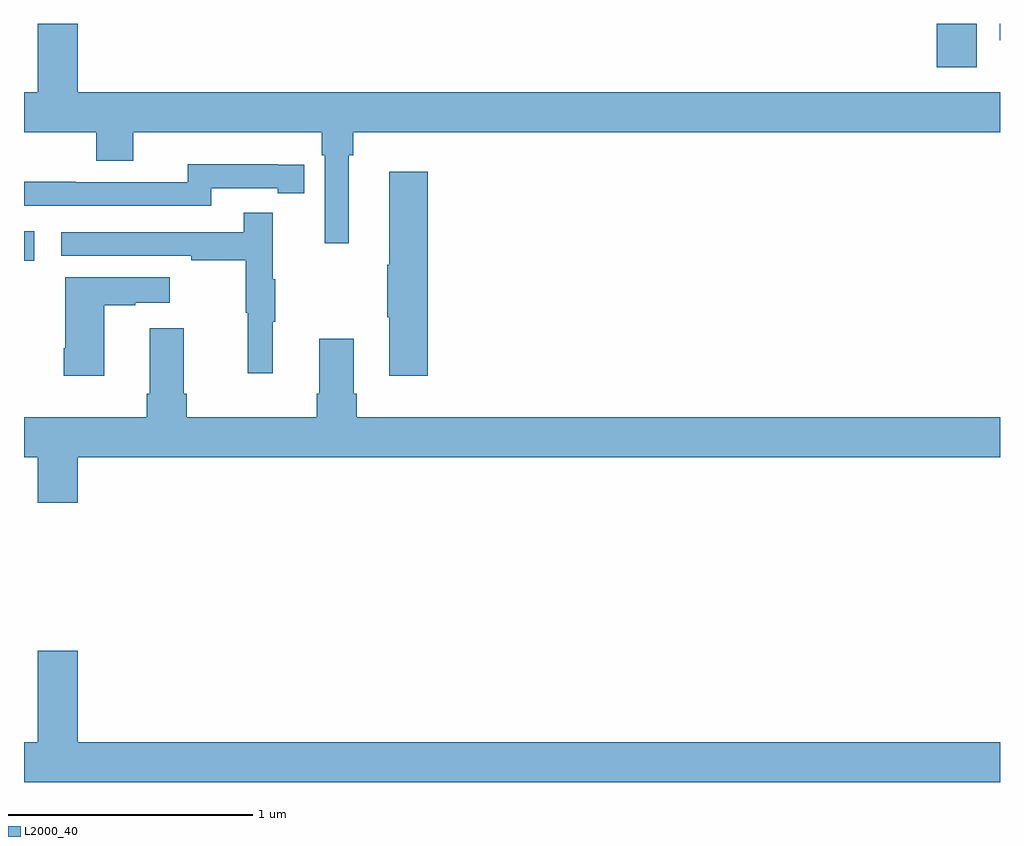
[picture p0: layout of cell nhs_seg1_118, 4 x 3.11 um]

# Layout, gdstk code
import gdstk
lib = gdstk.Library(unit=1e-6, precision=1e-09)
def R(c, l, rs):  # rectangles x0, y0, x1, y1
    for r in rs: c.add(gdstk.rectangle(r[:2], r[2:], *l))
def P(c, l, *ps):  # polygons
    for p in ps: c.add(gdstk.Polygon(p, *l))
L2000_40 = (2000, 40)

nhs_seg1_118 = lib.new_cell('nhs_seg1_118')
R(nhs_seg1_118, L2000_40, [(117,527.229,117.043,527.35), (120.74,528.021,120.904,528.199), (120.999,528.132,121,528.199)])
P(nhs_seg1_118, L2000_40, [(118.33,527.66),(118.349,527.66),(118.349,527.756),(121,527.756),(121,527.92),(117.22,527.92),(117.22,528.199),(117.056,528.199),(117.056,527.92),(117,527.92),(117,527.756),(117.296,527.756),(117.296,527.639),(117.448,527.639),(117.448,527.756),(118.22,527.756),(118.22,527.66),(118.233,527.66),(118.233,527.301),(118.33,527.301)],
  [(117.768,527.526),(118.04,527.526),(118.04,527.506),(118.148,527.506),(118.148,527.622),(118.04,527.622),(118.04,527.623),(117.672,527.623),(117.672,527.55),(117.212,527.55),(117.212,527.552),(117,527.552),(117,527.454),(117.768,527.454)],
  [(118.655,527.593),(118.496,527.593),(118.496,527.213),(118.489,527.213),(118.489,526.996),(118.496,526.996),(118.496,526.758),(118.655,526.758)],
  [(118.019,526.979),(118.03,526.979),(118.03,527.153),(118.019,527.153),(118.019,527.425),(117.901,527.425),(117.901,527.346),(117.153,527.346),(117.153,527.25),(117.685,527.25),(117.685,527.23),(117.909,527.23),(117.909,527.016),(117.916,527.016),(117.916,526.767),(118.019,526.767)],
  [(117.328,527.047),(117.455,527.047),(117.455,527.057),(117.598,527.057),(117.598,527.161),(117.17,527.161),(117.17,526.87),(117.163,526.87),(117.163,526.758),(117.328,526.758)],
  [(117.22,526.424),(121,526.424),(121,526.588),(118.364,526.588),(118.364,526.684),(118.351,526.684),(118.351,526.909),(118.211,526.909),(118.211,526.684),(118.199,526.684),(118.199,526.588),(117.668,526.588),(117.668,526.684),(117.655,526.684),(117.655,526.951),(117.515,526.951),(117.515,526.684),(117.503,526.684),(117.503,526.588),(117,526.588),(117,526.424),(117.056,526.424),(117.056,526.236),(117.22,526.236)],
  [(121,525.256),(117.22,525.256),(117.22,525.631),(117.056,525.631),(117.056,525.256),(117,525.256),(117,525.092),(121,525.092)])

lib.write_gds('nhs_seg1_118.gds')
